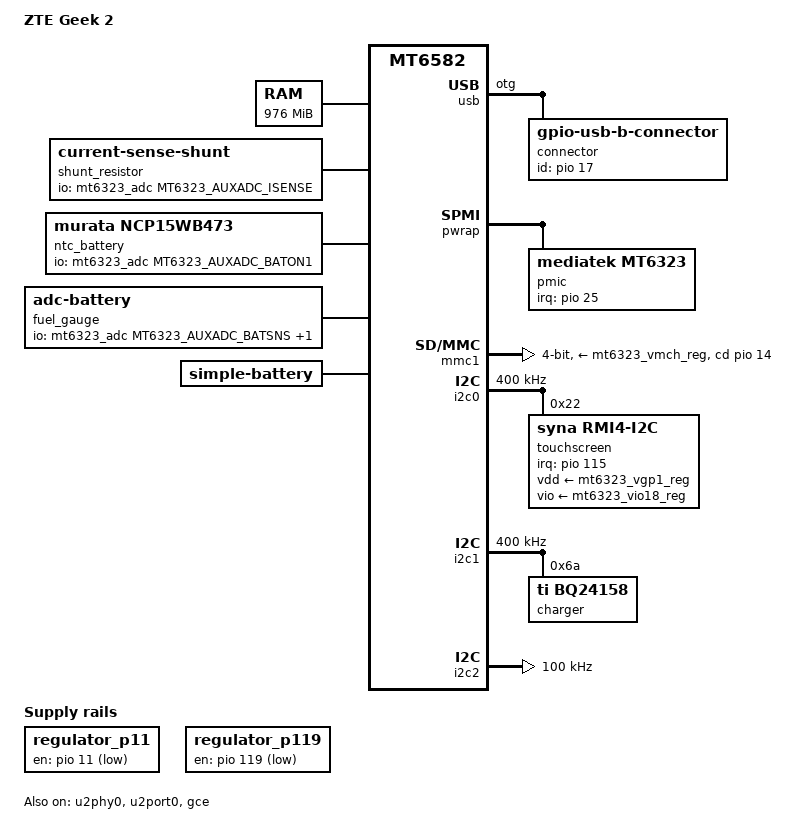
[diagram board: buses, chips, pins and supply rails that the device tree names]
// SPDX-License-Identifier: GPL-2.0
/*
 * Copyright (c) 2026 Burst_Caster <swer15l23@gmail.com>
 * Copyright (c) 2026 faveoled <faveoled@yandex.com>
 */

/dts-v1/;

#include "mt6582.dtsi"
#include "mt6323.dtsi"
#include <dt-bindings/pinctrl/mt6582-pinfunc.h>
#include <dt-bindings/input/input.h>
#include <dt-bindings/power/mediatek,mt6582-power.h>
#include <dt-bindings/iio/adc/mediatek,mt6323-auxadc.h>

/ {
	model = "ZTE Geek 2";
	compatible = "zte,geek2", "mediatek,mt6582";

	chosen {
		#address-cells = <1>;
		#size-cells = <1>;

		linux,initrd-start = <0x84000000>;
		linux,initrd-end = <0x84900000>;

		framebuffer@bee00000 {
			compatible = "simple-framebuffer";
			memory-region = <&framebuffer_reserved>;
			width = <720>;
			height = <1280>;
			stride = <(720 * 2)>;
			format = "r5g6b5";
		};
	};

	memory@80000000 {
		device_type = "memory";
		reg = <0x80000000 0x3d000fff>;
	};

	reserved-memory {
		#address-cells = <1>;
		#size-cells = <1>;
		ranges;

		connsys@9f900000 {
			reg = <0x9f900000 0x100000>;
			no-map;
		};

		modem@9e000000 {
			reg = <0x9e000000 0x1800000>;
			no-map;
		};

		framebuffer_reserved: framebuffer@bee00000 {
			reg = <0xbee00000 (720 * 1280 * 2)>;
			no-map;
		};
	};

	regulator_p11: regulator-p11 {
		compatible = "regulator-fixed";
		regulator-name = "regulator_p11";
		gpios = <&pio 11 GPIO_ACTIVE_HIGH>;
	};

	regulator_p119: regulator-p119 {
		compatible = "regulator-fixed";
		regulator-name = "regulator_p119";
		gpios = <&pio 119 GPIO_ACTIVE_LOW>;
	};

	shunt_resistor: current-sense-shunt {
		compatible = "current-sense-shunt";
		io-channels = <&mt6323_adc MT6323_AUXADC_ISENSE>; /* channel 6 */
		shunt-resistor-micro-ohms = <56000>;
		#io-channel-cells = <0>;
	};

	ntc_battery: ntc-battery {
		compatible = "murata,ncp15wb473";
		io-channels = <&mt6323_adc MT6323_AUXADC_BATON1>; /* channel 5 */

		pullup-uv = <1800000>;
		pullup-ohm = <61900>;
		pulldown-ohm = <100000>;

		#thermal-sensor-cells = <0>;
	};

	fuel_gauge: fuel-gauge {
		compatible = "adc-battery";

		io-channels = <&mt6323_adc MT6323_AUXADC_BATSNS>, /* channel 7 */
			      <&shunt_resistor>;

		io-channel-names = "voltage", "current"; // , "temperature";
		power-supplies = <&charger>;
		monitored-battery = <&battery>;
	};

	thermal-zones {
		battery_thermal: battery-thermal {
		    polling-delay = <2000>;

		    thermal-sensors = <&ntc_battery>;

		    trips {
		        battery_alert: battery-alert {
		            temperature = <45000>;
		            hysteresis = <2000>;
		            type = "passive";
		        };

		        battery_crit: battery-crit {
		            temperature = <55000>;
		            hysteresis = <2000>;
		            type = "critical";
		        };
		    };
		};
    	};


	battery: battery {
		compatible = "simple-battery";
		charge-full-design-microamp-hours = <2323000>;
		voltage-min-design-microvolt = <3400000>;
		voltage-max-design-microvolt = <4255000>;
		operating-range-celsius = <(-10) 50>;
		factory-internal-resistance-micro-ohms = <177000>;

		alert-celsius = <0 45>;
		precharge-upper-limit-microvolt = <3400000>;
		precharge-current-microamp = <425000>;
		re-charge-voltage-microvolt = <150000>;

		ocv-capacity-celsius = <(-10) 0 25 50>;

		ocv-capacity-table-0 = <4228000 95>, <4209000 94>, <4191000 92>, <4173000 91>,
				       <4157000 89>, <4141000 87>, <4125000 86>, <4109000 84>,
				       <4094000 83>, <4079000 81>, <4066000 80>, <4051000 78>,
				       <4032000 76>, <4013000 75>, <3995000 73>, <3979000 72>,
				       <3966000 70>, <3954000 69>, <3942000 67>, <3930000 65>,
				       <3918000 64>, <3906000 62>, <3894000 61>, <3883000 59>,
				       <3873000 58>, <3863000 56>, <3854000 54>, <3846000 53>,
				       <3838000 51>, <3830000 50>, <3823000 48>, <3817000 47>,
				       <3811000 45>, <3805000 44>, <3799000 42>, <3794000 40>,
				       <3790000 39>, <3786000 37>, <3782000 36>, <3779000 34>,
				       <3776000 33>, <3774000 31>, <3772000 29>, <3770000 28>,
				       <3767000 26>, <3765000 25>, <3761000 23>, <3758000 22>,
				       <3754000 20>, <3749000 18>, <3743000 17>, <3738000 15>,
				       <3731000 14>, <3723000 12>, <3714000 11>, <3704000 9>,
				       <3695000 7>, <3689000 6>, <3682000 4>, <3675000 3>,
				       <3666000 1>, <3648000 0>, <3613000 0>, <3400000 0>;

		ocv-capacity-table-1 = <4237000 95>, <4219000 94>, <4201000 92>, <4184000 91>,
				       <4168000 89>, <4152000 88>, <4136000 86>, <4121000 85>,
				       <4106000 83>, <4091000 82>, <4077000 80>, <4064000 79>,
				       <4049000 77>, <4033000 76>, <4016000 74>, <4001000 73>,
				       <3988000 71>, <3976000 70>, <3964000 68>, <3951000 67>,
				       <3938000 65>, <3924000 64>, <3912000 62>, <3899000 60>,
				       <3887000 59>, <3876000 57>, <3865000 56>, <3855000 54>,
				       <3847000 53>, <3839000 51>, <3832000 50>, <3825000 48>,
				       <3818000 47>, <3813000 45>, <3807000 44>, <3802000 42>,
				       <3797000 41>, <3793000 39>, <3789000 38>, <3785000 36>,
				       <3781000 35>, <3778000 33>, <3776000 32>, <3774000 30>,
				       <3772000 29>, <3770000 27>, <3767000 25>, <3765000 24>,
				       <3761000 22>, <3757000 21>, <3753000 19>, <3748000 18>,
				       <3741000 16>, <3734000 15>, <3726000 13>, <3718000 12>,
				       <3708000 10>, <3696000 9>, <3688000 7>, <3682000 6>,
				       <3676000 4>, <3668000 3>, <3653000 1>, <3612000 0>,
				       <3540000 0>, <3400000 0>;

		ocv-capacity-table-2 = <4237000 93>, <4220000 91>, <4204000 90>, <4187000 89>,
				       <4171000 87>, <4156000 86>, <4140000 84>, <4124000 83>,
				       <4109000 81>, <4094000 80>, <4080000 78>, <4065000 77>,
				       <4051000 76>, <4038000 74>, <4024000 73>, <4011000 71>,
				       <3999000 70>, <3986000 68>, <3974000 67>, <3962000 66>,
				       <3950000 64>, <3938000 63>, <3925000 61>, <3910000 60>,
				       <3897000 58>, <3883000 57>, <3871000 56>, <3861000 54>,
				       <3851000 53>, <3843000 51>, <3836000 50>, <3829000 48>,
				       <3823000 47>, <3817000 46>, <3811000 44>, <3806000 43>,
				       <3801000 41>, <3797000 40>, <3792000 38>, <3789000 37>,
				       <3785000 35>, <3782000 34>, <3779000 33>, <3775000 31>,
				       <3772000 30>, <3767000 28>, <3762000 27>, <3757000 25>,
				       <3752000 24>, <3746000 23>, <3742000 21>, <3737000 20>,
				       <3731000 18>, <3723000 17>, <3715000 15>, <3708000 14>,
				       <3698000 13>, <3687000 11>, <3684000 10>, <3681000 8>,
				       <3676000 7>, <3666000 5>, <3639000 4>, <3580000 3>,
				       <3497000 1>, <3371000 0>;

		ocv-capacity-table-3 = <4226000 91>, <4209000 90>, <4193000 89>, <4176000 87>,
				       <4160000 86>, <4144000 84>, <4129000 83>, <4113000 81>,
				       <4098000 80>, <4084000 79>, <4069000 77>, <4054000 76>,
				       <4040000 74>, <4027000 73>, <4014000 71>, <4001000 70>,
				       <3989000 69>, <3977000 67>, <3965000 66>, <3953000 64>,
				       <3942000 63>, <3930000 61>, <3917000 60>, <3903000 59>,
				       <3888000 57>, <3874000 56>, <3863000 54>, <3853000 53>,
				       <3844000 51>, <3836000 50>, <3829000 49>, <3822000 47>,
				       <3815000 46>, <3810000 44>, <3804000 43>, <3799000 42>,
				       <3794000 40>, <3790000 39>, <3785000 37>, <3781000 36>,
				       <3778000 34>, <3774000 33>, <3771000 32>, <3766000 30>,
				       <3757000 29>, <3747000 27>, <3741000 26>, <3736000 24>,
				       <3730000 23>, <3725000 22>, <3720000 20>, <3716000 19>,
				       <3709000 17>, <3701000 16>, <3693000 14>, <3685000 13>,
				       <3672000 12>, <3668000 10>, <3665000 9>, <3661000 7>,
				       <3655000 6>, <3639000 4>, <3590000 3>, <3519000 2>,
				       <3415000 0>, <3238000 0>;

		over-voltage-threshold-microvolt = <4300000>;
		constant-charge-current-max-microamp = <1000000>;
		constant-charge-voltage-max-microvolt = <4255000>;

		trickle-charge-current-microamp = <30000>;
		charge-term-current-microamp = <150000>;

		energy-full-design-microwatt-hours = <8595100>;
	};
};

&cpu_thermal {
    status = "disabled";
};


&usb {
	status = "okay";

	dr_mode = "otg";
	usb-role-switch-default-mode = "peripheral";
	usb-role-switch;
	connector {
			compatible = "gpio-usb-b-connector", "usb-b-connector";
			type = "micro";
			id-gpios = <&pio 17 GPIO_ACTIVE_HIGH>;

	};
};

&u2phy0 {
	status = "okay";

};

&u2port0 {
	status = "okay";
};


&pwrap {
	pmic: mt6323 {
		compatible = "mediatek,mt6323";
		interrupt-parent = <&pio>;
		interrupts = <25 IRQ_TYPE_LEVEL_HIGH>;
		interrupt-controller;
		#interrupt-cells = <2>;
		pinctrl-names = "default";
        	pinctrl-0 = <&pmic_int_pins>;

		mt6323_leds: leds {
			status = "disabled";
		};	
		
		mt6323regulator: mt6323regulator {
			mt6323_vusb_reg: ldo_vusb {
				regulator-always-on;
			};
			
			mt6323_vemc3v3_reg: ldo_vemc3v3 {
				regulator-always-on;			
			};
			
			mt6323_vgp1_reg: ldo_vgp1 {
				regulator-always-on;
			};
			
			mt6323_vgp2_reg: ldo_vgp2 {
				regulator-boot-on;
				regulator-always-on;
			};
			
			mt6323_vio18_reg: ldo_vio18 {
				regulator-enable-ramp-delay = <316>;
			};								
		};
	};
};

&mmc1 {
	pinctrl-names = "default", "state_uhs";
	pinctrl-0 = <&msdc1_pins_default>;
	pinctrl-1 = <&msdc1_pins_uhs>;
	status = "okay";
	bus-width = <4>;
	max-frequency = <100000000>;
	cap-sd-highspeed;
	cd-gpios = <&pio 14 GPIO_ACTIVE_HIGH>;
	vmmc-supply = <&mt6323_vmch_reg>;
	vqmmc-supply = <&mt6323_vmc_reg>;
	sd-uhs-sdr12;
	sd-uhs-sdr25;
	sd-uhs-sdr50;
	sd-uhs-sdr104;
	sd-uhs-ddr50;
	cap-sd-highspeed;
	no-mmc;
	no-sdio;
	no-write-protect;
	mediatek,latch-ck = <0>;

};

&pio {
	status = "okay";
	pwrap_pins_default: pwrap-default {
		pins_ {
			pinmux = <MT6582_PIN_21_PWRAP_SPI0_MI__FUNC_PWRAP_SPIDO>,
			<MT6582_PIN_22_PWRAP_SPI0_MO__FUNC_PWRAP_SPIDI>,
			<MT6582_PIN_23_PWRAP_SPI0_CK__FUNC_PWRAP_SPICK_I>,
			<MT6582_PIN_24_PWRAP_SPI0_CSN__FUNC_PWRAP_SPICS_B_I>;
			input-enable;
			bias-disable;
		};

    	};

	pmic_int_pins: pmic-int {
		pins {
			pinmux = <MT6582_PIN_25_PWRAP_INT__FUNC_GPIO25>;
			input-enable;
			bias-pull-down;
			debounce-interval = <1000>;
		};
    	};

	msdc1_pins_default: msdc1-default {
		pins-cmd-dat{
		 	pinmux = <MT6582_PIN_124_MSDC1_CMD__FUNC_MSDC1_CMD>,
		 	 	 <MT6582_PIN_126_MSDC1_DAT0__FUNC_MSDC1_DAT0>,
			 	 <MT6582_PIN_127_MSDC1_DAT1__FUNC_MSDC1_DAT1>,
		 	 	 <MT6582_PIN_128_MSDC1_DAT2__FUNC_MSDC1_DAT2>,
		 	 	 <MT6582_PIN_129_MSDC1_DAT3__FUNC_MSDC1_DAT3>;
		 	input-enable;
		 	bias-pull-up;

		};
		pins-clk {
		 	pinmux = <MT6582_PIN_125_MSDC1_CLK__FUNC_MSDC1_CLK>;
			bias-pull-down;
		 	drive-strength = <4>;
		};
		sd-detect {
			pinmux = <MT6582_PIN_14_EINT14__FUNC_GPIO14>;
			input-enable;
			bias-pull-up;
		};
	};

	msdc1_pins_uhs: msdc1 {
		pins-cmd-dat{
		 	pinmux = <MT6582_PIN_124_MSDC1_CMD__FUNC_MSDC1_CMD>,
		 	 	 <MT6582_PIN_126_MSDC1_DAT0__FUNC_MSDC1_DAT0>,
		 	 	 <MT6582_PIN_127_MSDC1_DAT1__FUNC_MSDC1_DAT1>,
		 	 	 <MT6582_PIN_128_MSDC1_DAT2__FUNC_MSDC1_DAT2>,
		 		 <MT6582_PIN_129_MSDC1_DAT3__FUNC_MSDC1_DAT3>;
		 	input-enable;
		 	bias-pull-up;
		 	drive-strength = <8>;
		};
		pins-clk {
		 	pinmux = <MT6582_PIN_125_MSDC1_CLK__FUNC_MSDC1_CLK>;
		 	bias-pull-down;
		 	drive-strength = <12>;
		};
		sd-detect {
			pinmux = <MT6582_PIN_14_EINT14__FUNC_GPIO14>;
			input-enable;
			bias-pull-up;
		};
	};

	touch_pins_default: touch-pins {
		pins-irq {
			pinmux = <MT6582_PIN_10_EINT10__FUNC_GPIO10>;
			input-enable;
			bias-pull-up;
        	};
		pins-reset {
			pinmux = <MT6582_PIN_13_GPIO13__FUNC_GPIO13>;
			output-high;
		};
    	};

	usb0_id_pin: usb0 {
		pins-usb-id{
			pinmux = <MT6582_PIN_17_EINT17__FUNC_GPIO17>;
			bias-pull-up;
			input-enable;
			debounce-interval = <1000>;
		};
	};

};

&i2c0 {
	status = "okay";
	pinctrl-names = "default";
	pinctrl-0 = <&i2c0_pins>;
	clock-frequency = <400000>;

	touchscreen@22 {
		compatible = "syna,rmi4-i2c";
		reg = <0x22>;

		vdd-supply = <&mt6323_vgp1_reg>;
		vio-supply = <&mt6323_vio18_reg>;

		interrupt-parent = <&pio>;
		interrupts = <115 IRQ_TYPE_EDGE_FALLING>;
	};
};

&i2c1 {
	status = "okay";
	pinctrl-names = "default";
	pinctrl-0 = <&i2c1_pins>;
	clock-frequency = <400000>;

	charger: charger@6a {
		compatible = "ti,bq24158";
		reg = <0x6a>;

		ti,current-limit = <500>;
		ti,weak-battery-voltage = <3400>;
		ti,battery-regulation-voltage = <4255>;
		ti,charge-current = <1000>;
		ti,termination-current = <150>;
		ti,resistor-sense = <56>;
	};
};

&i2c2 {
	status = "okay";
	pinctrl-names = "default";
	pinctrl-0 = <&i2c2_pins>;
	clock-frequency = <100000>;
};

&gce {
	status = "okay";
};


&mali {
	status = "disabled";
};

&mmsys {
	status = "disabled";
};

&ovl0 {
	status = "disabled";
};

&rdma0 {
	status = "disabled";
};

&color {
	status = "disabled";
};

&bls {
	status = "disabled";
};

&dsi {
	status = "disabled";
};

&bls {
	status = "disabled";
};


